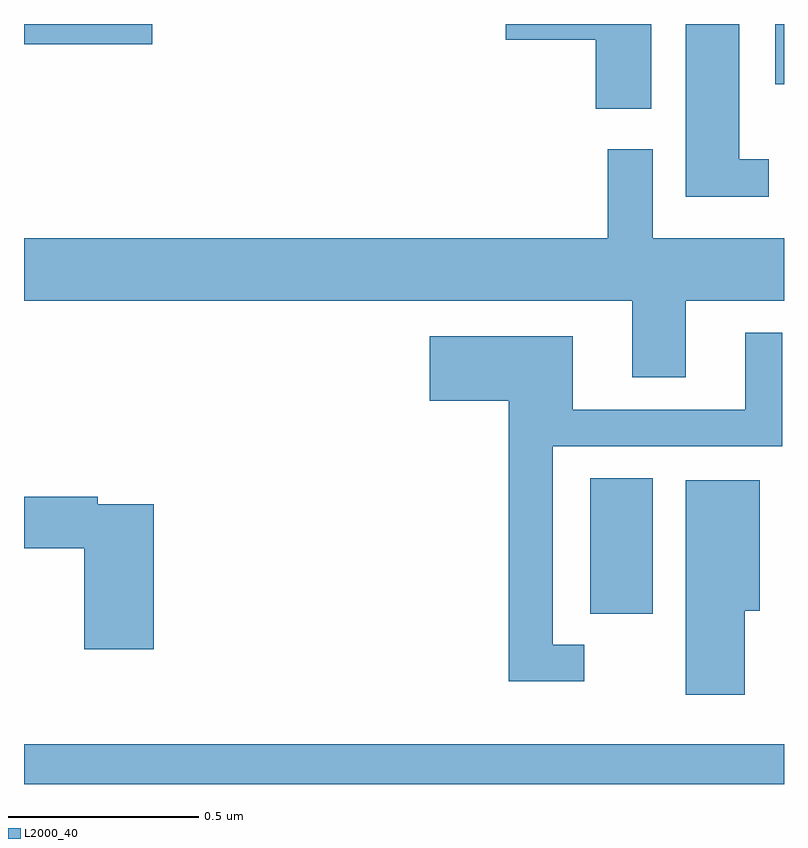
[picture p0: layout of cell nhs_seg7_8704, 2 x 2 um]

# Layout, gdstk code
import gdstk
lib = gdstk.Library(unit=1e-6, precision=1e-09)
def R(c, l, rs):  # rectangles x0, y0, x1, y1
    for r in rs: c.add(gdstk.rectangle(r[:2], r[2:], *l))
def P(c, l, *ps):  # polygons
    for p in ps: c.add(gdstk.Polygon(p, *l))
L2000_40 = (2000, 40)

nhs_seg7_8704 = lib.new_cell('nhs_seg7_8704')
R(nhs_seg7_8704, L2000_40, [(228,1010,230,1010.104), (229.49,1010.448,229.654,1010.804), (229.977,1011.842,230,1012), (228,1011.947,228.337,1012)])
P(nhs_seg7_8704, L2000_40, [(229.651,1012),(229.268,1012),(229.268,1011.959),(229.505,1011.959),(229.505,1011.777),(229.651,1011.777)],
  [(229.96,1011.644),(229.882,1011.644),(229.882,1012),(229.742,1012),(229.742,1011.546),(229.96,1011.546)],
  [(229.741,1011.272),(230,1011.272),(230,1011.436),(229.654,1011.436),(229.654,1011.67),(229.536,1011.67),(229.536,1011.436),(228,1011.436),(228,1011.272),(229.601,1011.272),(229.601,1011.07),(229.741,1011.07)],
  [(229.474,1010.367),(229.392,1010.367),(229.392,1010.889),(229.996,1010.889),(229.996,1011.187),(229.898,1011.187),(229.898,1010.985),(229.444,1010.985),(229.444,1011.178),(229.068,1011.178),(229.068,1011.008),(229.276,1011.008),(229.276,1010.27),(229.474,1010.27)],
  [(229.897,1010.456),(229.936,1010.456),(229.936,1010.8),(229.742,1010.8),(229.742,1010.235),(229.897,1010.235)],
  [(228.341,1010.736),(228.194,1010.736),(228.194,1010.756),(228,1010.756),(228,1010.62),(228.158,1010.62),(228.158,1010.355),(228.341,1010.355)])

lib.write_gds('nhs_seg7_8704.gds')
